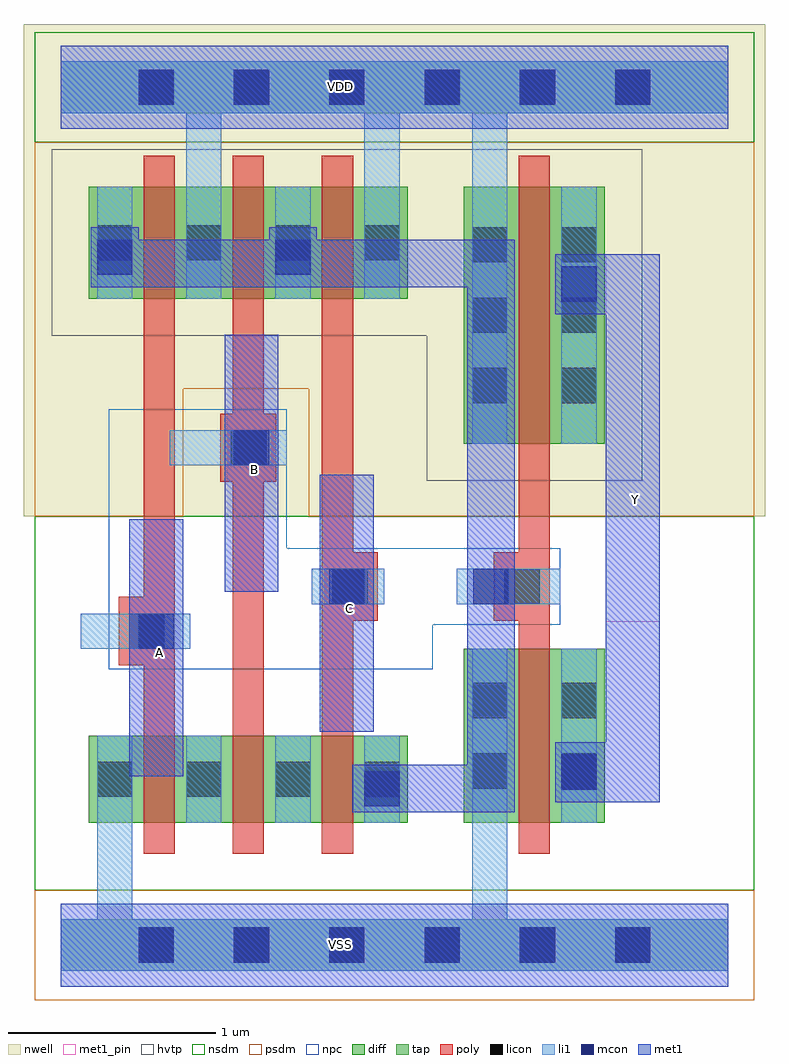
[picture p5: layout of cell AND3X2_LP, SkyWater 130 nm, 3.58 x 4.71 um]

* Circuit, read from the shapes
.subckt AND3X2_LP A B C VDD VSS Y
XM1 n1 A VSS VSS sky130_fd_pr__nfet_01v8 w=0.42 l=0.15
XM2 n2 B n1 VSS sky130_fd_pr__nfet_01v8 w=0.42 l=0.15
XM3 n3 C n2 VSS sky130_fd_pr__nfet_01v8 w=0.42 l=0.15
XM4 Y n3 VSS VSS sky130_fd_pr__nfet_01v8 w=0.84 l=0.15
XM5 VDD A n3 VDD sky130_fd_pr__pfet_01v8_hvt w=0.54 l=0.15
XM6 n3 B VDD VDD sky130_fd_pr__pfet_01v8_hvt w=0.54 l=0.15
XM7 VDD C n3 VDD sky130_fd_pr__pfet_01v8_hvt w=0.54 l=0.15
XM8 Y n3 VDD VDD sky130_fd_pr__pfet_01v8_hvt w=1.24 l=0.15
.ends

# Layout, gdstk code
from math import pi, radians
import gdstk
lib = gdstk.Library(unit=1e-6, precision=1e-09)
def R(c, l, rs):  # rectangles x0, y0, x1, y1
    for r in rs: c.add(gdstk.rectangle(r[:2], r[2:], *l))
def A(c, l, x, y, w, h, nx, ny, dx, dy):  # array of equal rectangles
    R(c, l, [(x+i*dx, y+j*dy, x+i*dx+w, y+j*dy+h) for i in range(nx) for j in range(ny)])
def P(c, l, *ps):  # polygons
    for p in ps: c.add(gdstk.Polygon(p, *l))
nwell = (64, 20)
diff = (65, 20)
tap = (65, 44)
poly = (66, 20)
licon = (66, 44)
li1 = (67, 20)
mcon = (67, 44)
met1_pin = (68, 16)
met1 = (68, 20)
hvtp = (78, 44)
nsdm = (93, 44)
psdm = (94, 20)
npc = (95, 20)

l1m1_c_cdns_750721840971 = lib.new_cell('L1M1_C_CDNS_750721840971')
R(l1m1_c_cdns_750721840971, li1, [(-0.085,-0.165,0.085,0.165)])
R(l1m1_c_cdns_750721840971, mcon, [(-0.085,-0.085,0.085,0.085)])
R(l1m1_c_cdns_750721840971, met1, [(-0.115,-0.145,0.115,0.145)])

pyl1con_c_cdns_750721840 = lib.new_cell('PYL1CON_C_CDNS_750721840972')
R(pyl1con_c_cdns_750721840, poly, [(-0.135,-0.165,0.135,0.165)])
R(pyl1con_c_cdns_750721840, licon, [(-0.085,-0.085,0.085,0.085)])
R(pyl1con_c_cdns_750721840, npc, [(-0.185,-0.185,0.185,0.185)])

l1m1_c_cdns_750721840973 = lib.new_cell('L1M1_C_CDNS_750721840973')
R(l1m1_c_cdns_750721840973, li1, [(-0.165,-0.085,0.165,0.085)])
R(l1m1_c_cdns_750721840973, mcon, [(-0.085,-0.085,0.085,0.085)])
R(l1m1_c_cdns_750721840973, met1, [(-0.115,-0.145,0.115,0.145)])

and3x2_lp = lib.new_cell('AND3X2_LP')
A(and3x2_lp, nwell, -0.045, 2.94, 1.04, 0.9, 3, 1, 0.43, 0)
R(and3x2_lp, nwell, [(-0.18,2.07,3.4,4.305), (1.765,2.24,2.805,3.84), (-0.18,3.875,3.4,4.445)])
A(and3x2_lp, diff, 0.4, 0.59, 0.15, 0.42, 3, 1, 0.43, 0)
A(and3x2_lp, diff, 0.4, 3.12, 0.15, 0.54, 3, 1, 0.43, 0)
R(and3x2_lp, diff, [(0.135,0.59,0.4,1.01), (0.55,0.59,0.815,1.01), (0.565,0.59,0.83,1.01), (0.98,0.59,1.245,1.01), (0.995,0.59,1.26,1.01), (1.41,0.59,1.675,1.01), (1.945,0.59,2.21,1.43), (2.21,0.59,2.36,1.43), (2.36,0.59,2.625,1.43), (1.945,2.42,2.21,3.66), (2.21,2.42,2.36,3.66), (2.36,2.42,2.625,3.66), (0.135,3.12,0.4,3.66), (0.55,3.12,0.815,3.66), (0.565,3.12,0.83,3.66), (0.98,3.12,1.245,3.66), (0.995,3.12,1.26,3.66), (1.41,3.12,1.675,3.66)])
A(and3x2_lp, poly, 0.4, 0.44, 0.15, 0.055, 3, 2, 0.43, 0.665)
A(and3x2_lp, poly, 0.4, 0.495, 0.15, 0.095, 3, 2, 0.43, 0.515)
A(and3x2_lp, poly, 0.4, 0.59, 0.15, 0.42, 3, 1, 0.43, 0)
A(and3x2_lp, poly, 0.4, 2.97, 0.15, 0.055, 3, 2, 0.43, 0.785)
A(and3x2_lp, poly, 0.4, 3.025, 0.15, 0.095, 3, 2, 0.43, 0.635)
A(and3x2_lp, poly, 0.4, 3.12, 0.15, 0.54, 3, 1, 0.43, 0)
R(and3x2_lp, poly, [(2.21,0.44,2.36,0.495), (2.21,0.495,2.36,0.59), (2.21,0.59,2.36,1.43), (2.21,1.43,2.36,1.525), (2.21,1.525,2.36,1.58), (2.21,2.27,2.36,2.325), (2.21,2.325,2.36,2.42), (2.21,2.42,2.36,3.66), (2.21,3.66,2.36,3.755), (2.21,3.755,2.36,3.81)])
A(and3x2_lp, licon, 0.375, -0.085, 0.17, 0.17, 6, 2, 0.46, 4.14)
A(and3x2_lp, licon, 1.985, 2.615, 0.17, 0.17, 1, 3, 0, 0.34)
A(and3x2_lp, licon, 2.415, 2.615, 0.17, 0.17, 1, 3, 0, 0.34)
R(and3x2_lp, licon, [(0.175,0.715,0.345,0.885), (0.605,0.715,0.775,0.885), (0.605,0.715,0.775,0.885), (1.035,0.715,1.205,0.885), (1.035,0.715,1.205,0.885), (1.465,0.715,1.635,0.885), (1.985,0.755,2.155,0.925), (2.415,0.755,2.585,0.925), (1.985,1.095,2.155,1.265), (2.415,1.095,2.585,1.265), (0.175,3.305,0.345,3.475), (0.605,3.305,0.775,3.475), (0.605,3.305,0.775,3.475), (1.035,3.305,1.205,3.475), (1.035,3.305,1.205,3.475), (1.465,3.305,1.635,3.475)])
R(and3x2_lp, li1, [(0.175,-0.125,0.345,0.715), (1.985,-0.085,2.155,0.885), (0.175,0.59,0.345,1.01), (0.605,0.59,0.775,1.01), (0.605,0.59,0.775,1.01), (1.035,0.59,1.205,1.01), (1.035,0.59,1.205,1.01), (1.465,0.59,1.635,1.01), (1.985,0.59,2.155,1.43), (2.415,0.59,2.585,1.43), (1.985,2.42,2.155,3.66), (2.415,2.42,2.585,3.66), (0.175,3.12,0.345,3.66), (0.605,3.12,0.775,3.66), (0.605,3.12,0.775,3.66), (1.035,3.12,1.205,3.66), (1.035,3.12,1.205,3.66), (1.465,3.12,1.635,3.66)])
A(and3x2_lp, mcon, 0.375, -0.085, 0.17, 0.17, 6, 2, 0.46, 4.14)
R(and3x2_lp, met1_pin, [(0.33,0.815,0.59,2.055), (1.25,1.03,1.51,2.27), (2.63,1.56,2.89,3.335), (0.79,1.705,1.05,2.945)])
A(and3x2_lp, hvtp, -0.045, 2.94, 1.04, 0.9, 3, 1, 0.43, 0)
R(and3x2_lp, hvtp, [(1.765,2.24,2.805,3.84)])
A(and3x2_lp, nsdm, -0.005, 0.46, 0.96, 0.68, 3, 1, 0.43, 0)
R(and3x2_lp, nsdm, [(-0.125,0.265,3.345,2.07), (1.805,0.46,2.765,1.56), (-0.125,3.875,3.345,4.405), (-0.125,3.93,3.345,4.35)])
A(and3x2_lp, psdm, -0.005, 2.99, 0.96, 0.8, 3, 1, 0.43, 0)
R(and3x2_lp, psdm, [(-0.125,-0.265,3.345,0.265), (-0.125,-0.21,3.345,0.21), (1.805,2.29,2.765,3.79)])
P(and3x2_lp, psdm, [(3.345,3.875),(-0.125,3.875),(-0.125,2.07),(0.59,2.07),(0.59,2.685),(1.195,2.685),(1.195,2.07),(3.345,2.07)])
P(and3x2_lp, npc, [(2.41,1.915),(1.09,1.915),(1.09,2.585),(0.23,2.585),(0.23,1.33),(1.795,1.33),(1.795,1.545),(2.41,1.545)])
and3x2_lp.add(gdstk.FlexPath([(0.475,2.97),(0.475,1.04)], 0.15, ends="flush", simple_path=True, layer=66, datatype=20))  # poly
and3x2_lp.add(gdstk.FlexPath([(2.285,2.27),(2.285,1.5)], 0.15, ends="flush", simple_path=True, layer=66, datatype=20))  # poly
and3x2_lp.add(gdstk.FlexPath([(1.335,2.97),(1.335,1.015)], 0.15, ends="flush", simple_path=True, layer=66, datatype=20))  # poly
and3x2_lp.add(gdstk.FlexPath([(0.905,2.97),(0.905,0.905)], 0.15, ends="flush", simple_path=True, layer=66, datatype=20))  # poly
and3x2_lp.add(gdstk.FlexPath([(2.07,3.55),(2.07,4.14)], 0.17, ends=(0, 0.125), simple_path=True, layer=67, datatype=20))  # li1
and3x2_lp.add(gdstk.FlexPath([(1.55,3.55),(1.55,4.14)], 0.17, ends=(0, 0.125), simple_path=True, layer=67, datatype=20))  # li1
and3x2_lp.add(gdstk.FlexPath([(0.69,3.55),(0.69,4.14)], 0.17, ends=(0, 0.125), simple_path=True, layer=67, datatype=20))  # li1
and3x2_lp.add(gdstk.FlexPath([(0,0),(3.22,0)], 0.25, ends="flush", simple_path=True, layer=67, datatype=20))  # li1
and3x2_lp.add(gdstk.FlexPath([(0,4.14),(3.22,4.14)], 0.25, ends="flush", simple_path=True, layer=67, datatype=20))  # li1
and3x2_lp.add(gdstk.FlexPath([(1.56,1.73),(1.21,1.73)], 0.17, ends="flush", simple_path=True, layer=67, datatype=20))  # li1
and3x2_lp.add(gdstk.FlexPath([(1.09,2.4),(0.525,2.4)], 0.17, ends="flush", simple_path=True, layer=67, datatype=20))  # li1
and3x2_lp.add(gdstk.FlexPath([(0.095,1.515),(0.6,1.515)], 0.17, ends="flush", simple_path=True, layer=67, datatype=20))  # li1
and3x2_lp.add(gdstk.FlexPath([(2.075,1.73),(2.41,1.73)], 0.17, ends="flush", simple_path=True, layer=67, datatype=20))  # li1
and3x2_lp.add(gdstk.FlexPath([(0,4.14),(3.22,4.14)], 0.4, ends="flush", simple_path=True, layer=68, datatype=20))  # met1
and3x2_lp.add(gdstk.FlexPath([(2.615,0.865),(2.615,0.835)], 0.29, ends=(0, 0.145), simple_path=True, layer=68, datatype=20))  # met1
and3x2_lp.add(gdstk.FlexPath([(0.92,1.705),(0.92,2.945)], 0.26, ends="flush", simple_path=True, layer=68, datatype=20))  # met1
and3x2_lp.add(gdstk.FlexPath([(0.145,3.29),(2.075,3.29)], 0.23, ends=(0, 0.115), simple_path=True, layer=68, datatype=20))  # met1
and3x2_lp.add(gdstk.FlexPath([(2.5,3.19),(2.615,3.19)], 0.29, ends=(0, 0.145), simple_path=True, layer=68, datatype=20))  # met1
and3x2_lp.add(gdstk.FlexPath([(2.76,0.82),(2.76,3.205)], 0.26, ends="extended", simple_path=True, layer=68, datatype=20))  # met1
and3x2_lp.add(gdstk.FlexPath([(1.38,1.03),(1.38,2.27)], 0.26, ends="flush", simple_path=True, layer=68, datatype=20))  # met1
and3x2_lp.add(gdstk.FlexPath([(2.615,3.19),(2.615,3.23)], 0.29, ends=(0.145, 0), simple_path=True, layer=68, datatype=20))  # met1
and3x2_lp.add(gdstk.FlexPath([(2.075,0.85),(2.075,3.06)], 0.23, ends="extended", simple_path=True, layer=68, datatype=20))  # met1
and3x2_lp.add(gdstk.FlexPath([(2.075,3.29),(2.19,3.29)], 0.23, ends=(0.115, 0), simple_path=True, layer=68, datatype=20))  # met1
and3x2_lp.add(gdstk.FlexPath([(1.485,0.755),(2.075,0.755)], 0.23, ends=(0, 0.115), simple_path=True, layer=68, datatype=20))  # met1
and3x2_lp.add(gdstk.FlexPath([(2.615,0.835),(2.5,0.835)], 0.29, ends=(0.145, 0), simple_path=True, layer=68, datatype=20))  # met1
and3x2_lp.add(gdstk.FlexPath([(0.46,0.815),(0.46,2.055)], 0.26, ends="flush", simple_path=True, layer=68, datatype=20))  # met1
and3x2_lp.add(gdstk.FlexPath([(0,0),(3.22,0)], 0.4, ends="flush", simple_path=True, layer=68, datatype=20))  # met1
and3x2_lp.add(gdstk.FlexPath([(0,0),(3.22,0)], 0.4, ends="flush", simple_path=True, layer=68, datatype=16))  # met1_pin
and3x2_lp.add(gdstk.FlexPath([(0,4.14),(3.22,4.14)], 0.4, ends="flush", simple_path=True, layer=68, datatype=16))  # met1_pin
and3x2_lp.add(gdstk.FlexPath([(0,0),(3.22,0)], 0.25, ends="flush", simple_path=True, layer=65, datatype=44))  # tap
and3x2_lp.add(gdstk.FlexPath([(0,4.14),(3.22,4.14)], 0.25, ends="flush", simple_path=True, layer=65, datatype=44))  # tap
and3x2_lp.add(gdstk.Reference(l1m1_c_cdns_750721840971, (2.5,0.835)))
and3x2_lp.add(gdstk.Reference(l1m1_c_cdns_750721840971, (2.5,3.19)))
and3x2_lp.add(gdstk.Reference(l1m1_c_cdns_750721840971, (0.26,3.32)))
and3x2_lp.add(gdstk.Reference(l1m1_c_cdns_750721840971, (1.12,3.32)))
and3x2_lp.add(gdstk.Reference(pyl1con_c_cdns_750721840, (0.905,2.4)))
and3x2_lp.add(gdstk.Reference(pyl1con_c_cdns_750721840, (1.395,1.73)))
and3x2_lp.add(gdstk.Reference(pyl1con_c_cdns_750721840, (0.415,1.515)))
and3x2_lp.add(gdstk.Reference(pyl1con_c_cdns_750721840, (2.225,1.73)))
and3x2_lp.add(gdstk.Reference(l1m1_c_cdns_750721840973, (0.46,1.515), x_reflection=True))
and3x2_lp.add(gdstk.Reference(l1m1_c_cdns_750721840973, (1.38,1.73), x_reflection=True))
and3x2_lp.add(gdstk.Reference(l1m1_c_cdns_750721840973, (0.92,2.4), x_reflection=True))
and3x2_lp.add(gdstk.Reference(l1m1_c_cdns_750721840973, (2.075,1.73)))
and3x2_lp.add(gdstk.Reference(l1m1_c_cdns_750721840973, (1.55,0.755), rotation=3*pi/2))
and3x2_lp.add(gdstk.Label('VDD', (1.351,4.145), layer=68, texttype=5))
and3x2_lp.add(gdstk.Label('B', (0.935,2.295), layer=68, texttype=5))
and3x2_lp.add(gdstk.Label('C', (1.395,1.625), layer=68, texttype=5))
and3x2_lp.add(gdstk.Label('A', (0.475,1.41), layer=68, texttype=5))
and3x2_lp.add(gdstk.Label('Y', (2.775,2.15), layer=68, texttype=5))
and3x2_lp.add(gdstk.Label('VSS', (1.35,0.005), layer=68, texttype=5))

lib.write_gds('AND3X2_LP.gds')
